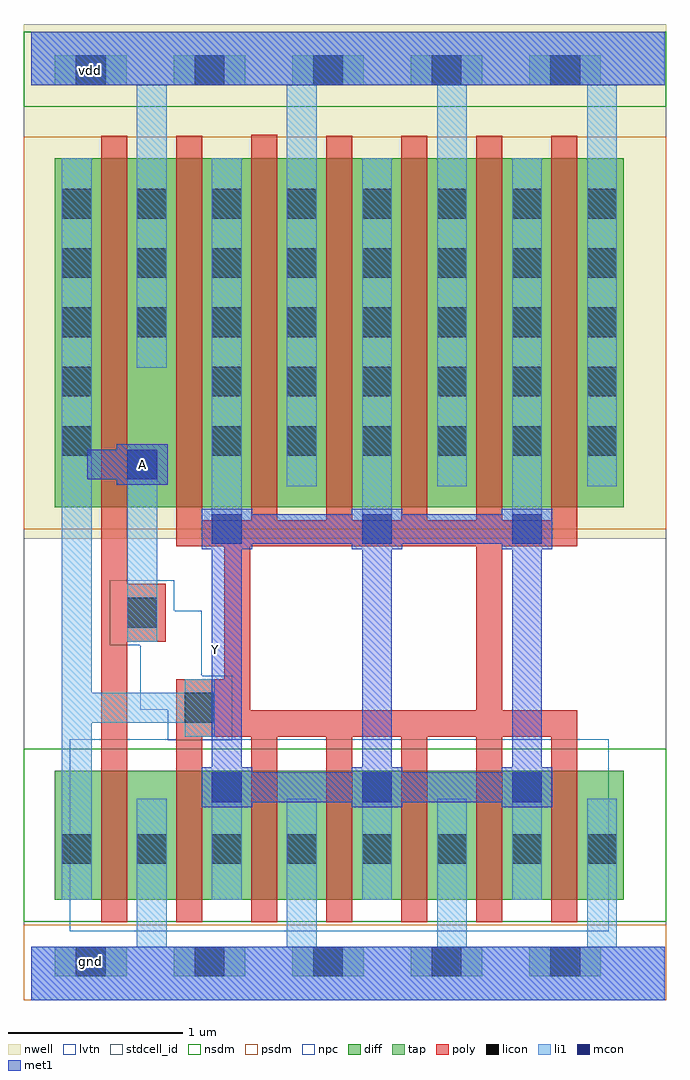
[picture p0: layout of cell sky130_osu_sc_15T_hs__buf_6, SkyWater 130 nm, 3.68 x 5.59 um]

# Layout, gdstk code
import gdstk
lib = gdstk.Library(unit=1e-6, precision=1e-09)
def R(c, l, rs):  # rectangles x0, y0, x1, y1
    for r in rs: c.add(gdstk.rectangle(r[:2], r[2:], *l))
def A(c, l, x, y, w, h, nx, ny, dx, dy):  # array of equal rectangles
    R(c, l, [(x+i*dx, y+j*dy, x+i*dx+w, y+j*dy+h) for i in range(nx) for j in range(ny)])
nwell = (64, 20)
diff = (65, 20)
tap = (65, 44)
poly = (66, 20)
licon = (66, 44)
li1 = (67, 20)
mcon = (67, 44)
met1 = (68, 20)
stdcell_id = (81, 4)
nsdm = (93, 44)
psdm = (94, 20)
npc = (95, 20)
lvtn = (125, 44)

sky130_osu_sc_15t_hs__bu = lib.new_cell('sky130_osu_sc_15T_hs__buf_6')
R(sky130_osu_sc_15t_hs__bu, nwell, [(-0.045,2.645,3.64,5.595)])
R(sky130_osu_sc_15t_hs__bu, diff, [(0.135,0.575,3.395,1.315), (0.135,2.825,3.395,4.825)])
A(sky130_osu_sc_15t_hs__bu, tap, 0.135, 0.135, 0.41, 0.17, 5, 2, 0.68, 5.11)
A(sky130_osu_sc_15t_hs__bu, poly, 0.83, 0.445, 0.15, 1.065, 6, 1, 0.43, 0)
A(sky130_osu_sc_15t_hs__bu, poly, 1.69, 2.75, 0.15, 2.205, 4, 1, 0.43, 0)
R(sky130_osu_sc_15t_hs__bu, poly, [(0.4,0.445,0.55,2.055), (0.83,1.51,3.13,1.66), (0.83,1.66,1.255,1.84), (2.55,1.66,2.7,2.6), (1.105,1.84,1.255,2.6), (0.4,2.055,0.77,2.385), (0.4,2.385,0.55,4.955), (0.83,2.6,3.13,2.75), (0.83,2.75,0.98,4.955), (1.26,2.75,1.41,4.96)])
A(sky130_osu_sc_15t_hs__bu, licon, 0.255, 0.135, 0.17, 0.17, 5, 2, 0.68, 5.11)
A(sky130_osu_sc_15t_hs__bu, licon, 0.175, 0.78, 0.17, 0.17, 8, 2, 0.43, 3.02)
A(sky130_osu_sc_15t_hs__bu, licon, 1.035, 3.12, 0.17, 0.17, 6, 2, 0.43, 0.34)
A(sky130_osu_sc_15t_hs__bu, licon, 0.175, 4.14, 0.17, 0.17, 8, 2, 0.43, 0.34)
R(sky130_osu_sc_15t_hs__bu, licon, [(0.88,1.59,1.05,1.76), (0.55,2.135,0.72,2.305), (0.175,3.12,0.345,3.29), (0.175,3.46,0.345,3.63)])
A(sky130_osu_sc_15t_hs__bu, li1, 0.605, 0.305, 0.17, 0.85, 4, 1, 0.86, 0)
A(sky130_osu_sc_15t_hs__bu, li1, 1.035, 0.575, 0.17, 0.73, 3, 1, 0.86, 0)
A(sky130_osu_sc_15t_hs__bu, li1, 1.035, 2.615, 0.17, 2.21, 3, 1, 0.86, 0)
A(sky130_osu_sc_15t_hs__bu, li1, 1.465, 2.945, 0.17, 2.3, 3, 1, 0.86, 0)
R(sky130_osu_sc_15t_hs__bu, li1, [(0,0,3.63,0.305), (0.175,0.575,0.345,1.59), (0.88,1.51,1.05,1.59), (0.175,1.59,1.05,1.76), (0.175,1.76,0.345,4.825), (0.88,1.76,1.05,1.84), (0.55,2.055,0.72,3.155), (0.605,3.625,0.775,5.245), (0,5.245,3.63,5.55)])
A(sky130_osu_sc_15t_hs__bu, mcon, 1.035, 1.135, 0.17, 0.17, 3, 2, 0.86, 1.48)
R(sky130_osu_sc_15t_hs__bu, mcon, [(0.55,2.985,0.72,3.155)])
A(sky130_osu_sc_15t_hs__bu, met1, 0.975, 1.105, 0.29, 0.03, 3, 2, 0.86, 0.2)
A(sky130_osu_sc_15t_hs__bu, met1, 1.035, 1.335, 0.17, 1.25, 3, 1, 0.86, 0)
A(sky130_osu_sc_15t_hs__bu, met1, 0.975, 2.585, 0.29, 0.03, 3, 2, 0.86, 0.2)
R(sky130_osu_sc_15t_hs__bu, met1, [(0,0,3.63,0.305), (0.975,1.135,2.985,1.305), (0.975,2.615,2.985,2.785), (0.49,2.955,0.78,2.985), (0.32,2.985,0.78,3.155), (0.49,3.155,0.78,3.185), (0,5.245,3.63,5.55)])
R(sky130_osu_sc_15t_hs__bu, stdcell_id, [(-0.045,0,3.64,5.55)])
R(sky130_osu_sc_15t_hs__bu, nsdm, [(-0.045,0.45,3.64,1.44), (-0.045,5.12,3.64,5.55)])
R(sky130_osu_sc_15t_hs__bu, psdm, [(-0.045,0,3.64,0.43), (-0.045,2.7,3.64,4.95)])
R(sky130_osu_sc_15t_hs__bu, npc, [(0.78,1.49,1.15,1.665), (0.625,1.665,1.15,1.86), (0.625,1.86,0.975,2.035), (0.45,2.035,0.975,2.23), (0.45,2.23,0.82,2.405)])
R(sky130_osu_sc_15t_hs__bu, lvtn, [(0.22,0.395,3.31,1.495)])
sky130_osu_sc_15t_hs__bu.add(gdstk.Label('gnd', (0.34,0.22), layer=68, texttype=16))
sky130_osu_sc_15t_hs__bu.add(gdstk.Label('vdd', (0.34,5.33), layer=68, texttype=16))
sky130_osu_sc_15t_hs__bu.add(gdstk.Label('A', (0.635,3.07), layer=68, texttype=5))
sky130_osu_sc_15t_hs__bu.add(gdstk.Label('Y', (1.055,2.01), layer=68, texttype=5))

lib.write_gds('sky130_osu_sc_15T_hs__buf_6.gds')
